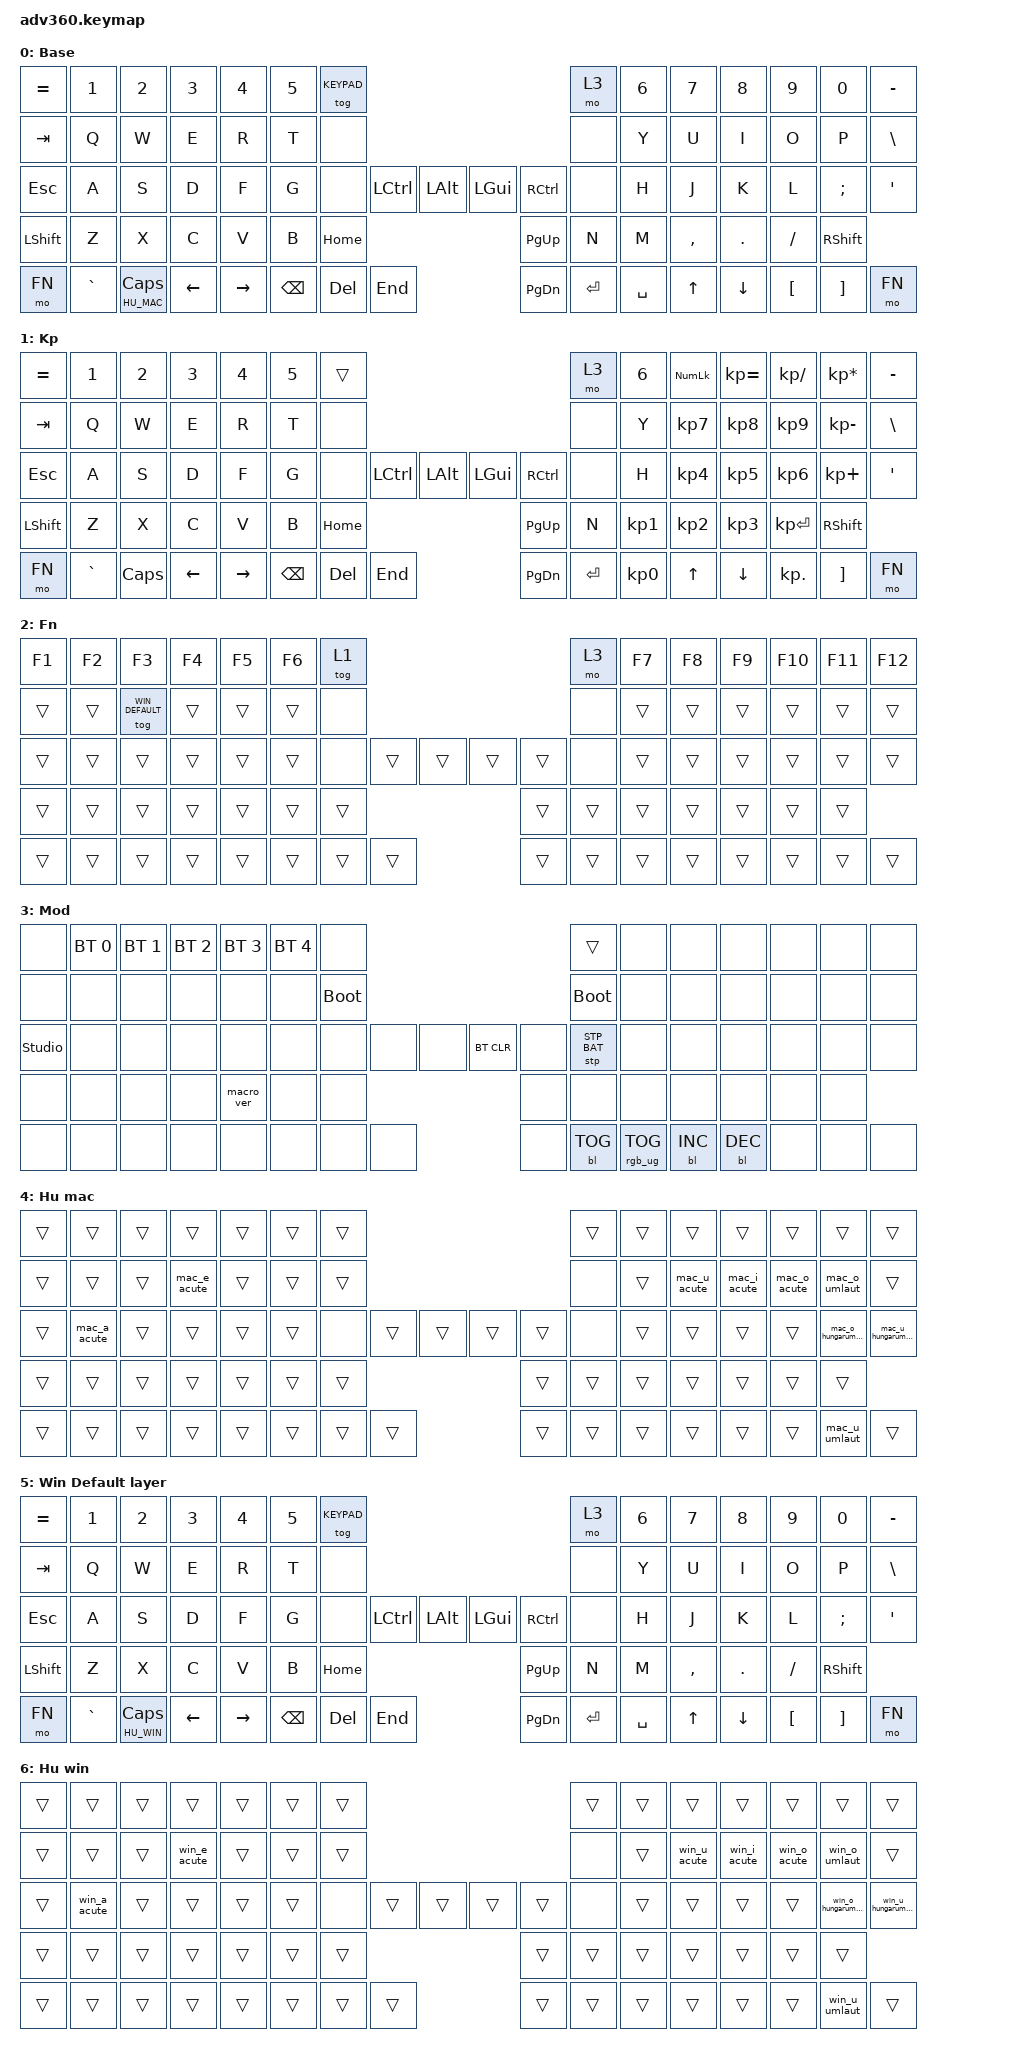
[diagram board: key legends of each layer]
#include <behaviors.dtsi>
#include <dt-bindings/zmk/keys.h>
#include <dt-bindings/zmk/bt.h>
#include <dt-bindings/zmk/rgb.h>
#include <dt-bindings/zmk/stp.h>
#include <dt-bindings/zmk/backlight.h>
#include <dt-bindings/zmk/pointing.h>

#define BASE 0
#define KEYPAD 1
#define FN 2
#define MOD 3
#define HU_MAC 4
#define WIN_DEFAULT 5
#define HU_WIN 6

/ {
    behaviors {
      hu_lt: hu_layer_tap {
        compatible = "zmk,behavior-hold-tap";
        label = "HU_LAYER_TAP";
        #binding-cells = <2>;
        flavor = "hold-preferred";
        tapping-term-ms = <200>;
        bindings = <&mo>, <&kp>;
      };
      
      caps_tap: caps_tap {
        compatible = "zmk,behavior-macro";
        #binding-cells = <0>;
        wait-ms = <10>;
        tap-ms = <100>;
        bindings = <&macro_tap &kp CAPS>;
      };

      hu_caps: hu_caps {
        compatible = "zmk,behavior-hold-tap";
        label = "HU_CAPS";
        #binding-cells = <2>;
        flavor = "hold-preferred";
        tapping-term-ms = <200>;
        bindings = <&mo>, <&caps_tap>;
      };

      #include "macros.dtsi"
      #include "hu_mac.dtsi"
      #include "hu_win.dtsi"
      #include "version.dtsi"

      hm: homerow_mods {
          compatible = "zmk,behavior-hold-tap";
          label = "HOMEROW_MODS";
          #binding-cells = <2>;
          tapping-term-ms = <200>;
          quick_tap_ms = <175>;
          flavor = "tap-preferred";
          bindings = <&kp>, <&kp>;
      };
    };

  keymap {
    compatible = "zmk,keymap";

    default_layer {
      display-name = "Base";
      bindings = <
        &kp EQUAL &kp N1    &kp N2             &kp N3   &kp N4     &kp N5 &tog KEYPAD                                                                   &mo 3 &kp N6 &kp N7 &kp N8      &kp N9   &kp N0   &kp MINUS
        &kp TAB   &kp Q     &kp W              &kp E    &kp R      &kp T  &none                                                                         &none &kp Y  &kp U  &kp I       &kp O    &kp P    &kp BSLH
        &kp ESC   &kp A     &kp S              &kp D    &kp F      &kp G  &none           &kp LCTRL &kp LALT &kp LGUI &kp RCTRL                         &none &kp H  &kp J  &kp K       &kp L    &kp SEMI &kp SQT
        &kp LSHFT &kp Z     &kp X              &kp C    &kp V      &kp B                            &kp HOME &kp PG_UP                                  &kp N &kp M  &kp COMMA &kp DOT  &kp FSLH &kp RSHFT
        &mo FN    &kp GRAVE &hu_caps HU_MAC CAPS &kp LEFT &kp RIGHT                  &kp BSPC &kp DEL &kp END  &kp PG_DN &kp ENTER &kp SPACE                    &kp UP &kp DOWN  &kp LBKT &kp RBKT &mo FN
      >;
    };
    keypad {
      display-name = "Kp";
      bindings = <
        &kp EQUAL &kp N1     &kp N2   &kp N3   &kp N4     &kp N5 &trans                                                           &mo 3 &kp N6 &kp KP_NUM &kp KP_EQUAL &kp KP_DIVIDE &kp KP_MULTIPLY &kp MINUS
        &kp TAB   &kp Q      &kp W    &kp E    &kp R      &kp T  &none                                                            &none &kp Y  &kp KP_N7  &kp KP_N8    &kp KP_N9     &kp KP_MINUS    &kp BSLH
        &kp ESC   &kp A      &kp S    &kp D    &kp F      &kp G  &none           &kp LCTRL &kp LALT &kp LGUI  &kp RCTRL           &none &kp H  &kp KP_N4  &kp KP_N5    &kp KP_N6     &kp KP_PLUS     &kp SQT
        &kp LSHFT &kp Z      &kp X    &kp C    &kp V      &kp B                            &kp HOME &kp PG_UP                           &kp N  &kp KP_N1  &kp KP_N2    &kp KP_N3     &kp KP_ENTER    &kp RSHFT
        &mo FN     &kp GRAVE &kp CAPS &kp LEFT &kp RIGHT                &kp BSPC &kp DEL   &kp END  &kp PG_DN &kp ENTER &kp KP_N0             &kp UP     &kp DOWN     &kp KP_DOT    &kp RBKT        &mo FN
      >;
    };
    fn {
      display-name = "Fn";
      bindings = <
        &kp F1 &kp F2 &kp F3 &kp F4 &kp F5 &kp F6 &tog 1                                           &mo 3 &kp F7 &kp F8 &kp F9 &kp F10 &kp F11 &kp F12
        &trans &trans &tog WIN_DEFAULT &trans &trans &trans  &none                                           &none &trans &trans &trans &trans  &trans  &trans
        &trans &trans &trans &trans &trans &trans  &none        &trans &trans &trans &trans        &none &trans &trans &trans &trans  &trans  &trans
        &trans &trans &trans &trans &trans &trans                      &trans &trans                     &trans &trans &trans &trans  &trans  &trans
        &trans &trans &trans &trans &trans               &trans &trans &trans &trans &trans &trans              &trans &trans &trans  &trans  &trans
      >;
    };
    mod {
      display-name = "Mod";
      bindings = <
        &none &bt BT_SEL 0 &bt BT_SEL 1 &bt BT_SEL 2 &bt BT_SEL 3 &bt BT_SEL 4 &none                                                                              &trans                 &none        &none        &none        &none &none &none
        &none &none        &none        &none        &none        &none        &bootloader                                                                        &bootloader            &none        &none        &none        &none &none &none
        &studio_unlock     &none        &none        &none        &none        &none        &none           &none &none &bt BT_CLR &none                          &stp STP_BAT           &none        &none        &none        &none &none &none
        &none &none        &none        &none        &macro_ver   &none                                           &none &none                                                            &none        &none        &none        &none &none &none
        &none &none        &none        &none        &none                                            &none &none &none &none      &bl BL_TOG &rgb_ug RGB_TOG                                         &bl BL_INC   &bl BL_DEC   &none &none &none
      >;
    };
    hu_mac_layer {
      display-name = "Hu mac";
      bindings = <
        &trans &trans        &trans &trans       &trans &trans &trans                                                           &trans &trans &trans        &trans       &trans       &trans               &trans
        &trans &trans        &trans &mac_e_acute &trans &trans &trans                                                           &none  &trans &mac_u_acute  &mac_i_acute &mac_o_acute &mac_o_umlaut        &trans
        &trans &mac_a_acute  &trans &trans       &trans &trans &none           &trans &trans &trans &trans                      &none  &trans &trans        &trans       &trans       &mac_o_hungarumlaut  &mac_u_hungarumlaut
        &trans &trans        &trans &trans       &trans &trans                        &trans &trans                                    &trans &trans        &trans       &trans       &trans               &trans
        &trans &trans        &trans &trans       &trans                 &trans &trans &trans &trans &trans &trans                             &trans        &trans       &trans       &mac_u_umlaut        &trans
      >;
    };
    win_default_layer {
      display-name = "Win Default layer";
      bindings = <
        &kp EQUAL &kp N1    &kp N2               &kp N3   &kp N4     &kp N5 &tog KEYPAD                                                                   &mo 3 &kp N6 &kp N7 &kp N8      &kp N9   &kp N0   &kp MINUS
        &kp TAB   &kp Q     &kp W                &kp E    &kp R      &kp T  &none                                                                         &none &kp Y  &kp U  &kp I       &kp O    &kp P    &kp BSLH
        &kp ESC   &kp A     &kp S                &kp D    &kp F      &kp G  &none           &kp LCTRL &kp LALT &kp LGUI &kp RCTRL                         &none &kp H  &kp J  &kp K       &kp L    &kp SEMI &kp SQT
        &kp LSHFT &kp Z     &kp X                &kp C    &kp V      &kp B                            &kp HOME &kp PG_UP                                  &kp N &kp M  &kp COMMA &kp DOT  &kp FSLH &kp RSHFT
        &mo FN    &kp GRAVE &hu_caps HU_WIN CAPS &kp LEFT &kp RIGHT                  &kp BSPC &kp DEL &kp END  &kp PG_DN &kp ENTER &kp SPACE                    &kp UP &kp DOWN  &kp LBKT &kp RBKT &mo FN
      >;
    };
    hu_win_layer {
      display-name = "Hu win";
      bindings = <
        &trans &trans        &trans &trans       &trans &trans &trans                                                           &trans &trans &trans        &trans       &trans       &trans               &trans
        &trans &trans        &trans &win_e_acute &trans &trans &trans                                                           &none  &trans &win_u_acute  &win_i_acute &win_o_acute &win_o_umlaut        &trans
        &trans &win_a_acute  &trans &trans       &trans &trans &none           &trans &trans &trans &trans                      &none  &trans &trans        &trans       &trans       &win_o_hungarumlaut  &win_u_hungarumlaut
        &trans &trans        &trans &trans       &trans &trans                        &trans &trans                                    &trans &trans        &trans       &trans       &trans               &trans
        &trans &trans        &trans &trans       &trans                 &trans &trans &trans &trans &trans &trans                             &trans        &trans       &trans       &win_u_umlaut        &trans
      >;
    };

  };
};
